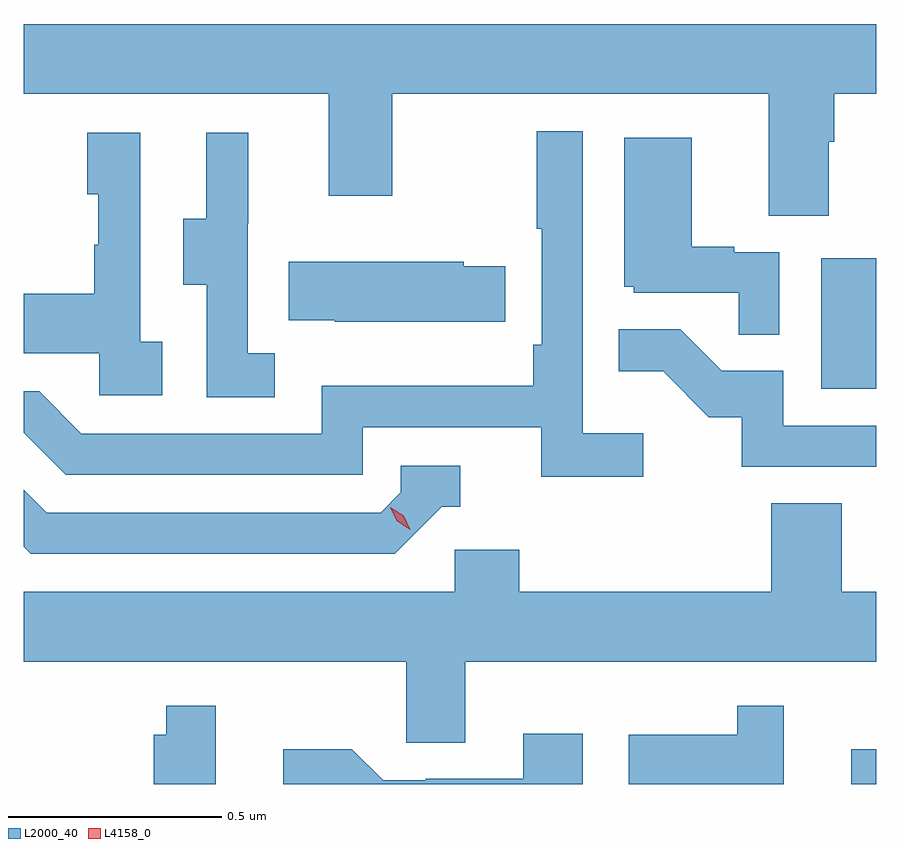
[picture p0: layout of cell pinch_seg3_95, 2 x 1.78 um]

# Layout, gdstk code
import gdstk
lib = gdstk.Library(unit=1e-6, precision=1e-09)
def R(c, l, rs):  # rectangles x0, y0, x1, y1
    for r in rs: c.add(gdstk.rectangle(r[:2], r[2:], *l))
def P(c, l, *ps):  # polygons
    for p in ps: c.add(gdstk.Polygon(p, *l))
L2000_40 = (2000, 40)
L4158_0 = (4158, 0)

pinch_seg3_95 = lib.new_cell('pinch_seg3_95')
R(pinch_seg3_95, L2000_40, [(1067.418,721.941,1067.477,722.023), (1067.348,722.868,1067.477,723.175)])
P(pinch_seg3_95, L2000_40, [(1067.365,723.448),(1067.378,723.448),(1067.378,723.56),(1067.477,723.56),(1067.477,723.724),(1065.477,723.724),(1065.477,723.56),(1066.193,723.56),(1066.193,723.321),(1066.341,723.321),(1066.341,723.56),(1067.225,723.56),(1067.225,723.274),(1067.365,723.274)],
  [(1066.93,722.764),(1066.788,722.764),(1066.788,723.472),(1066.68,723.472),(1066.68,723.244),(1066.692,723.244),(1066.692,722.971),(1066.672,722.971),(1066.672,722.875),(1066.176,722.875),(1066.176,722.763),(1065.612,722.763),(1065.513,722.862),(1065.477,722.862),(1065.477,722.765),(1065.575,722.667),(1066.272,722.667),(1066.272,722.778),(1066.691,722.778),(1066.691,722.662),(1066.93,722.662)],
  [(1065.802,722.978),(1065.75,722.978),(1065.75,723.469),(1065.626,723.469),(1065.626,723.324),(1065.652,723.324),(1065.652,723.206),(1065.642,723.206),(1065.642,723.091),(1065.477,723.091),(1065.477,722.951),(1065.654,722.951),(1065.654,722.853),(1065.802,722.853)],
  [(1066.066,722.951),(1066.002,722.951),(1066.002,723.255),(1066.004,723.255),(1066.004,723.469),(1065.905,723.469),(1065.905,723.267),(1065.851,723.267),(1065.851,723.112),(1065.906,723.112),(1065.906,722.848),(1066.066,722.848)],
  [(1067.25,723.189),(1067.144,723.189),(1067.144,723.202),(1067.044,723.202),(1067.044,723.457),(1066.886,723.457),(1066.886,723.108),(1066.908,723.108),(1066.908,723.093),(1067.155,723.093),(1067.155,722.995),(1067.25,722.995)],
  [(1066.607,723.156),(1066.509,723.156),(1066.509,723.166),(1066.099,723.166),(1066.099,723.029),(1066.207,723.029),(1066.207,723.026),(1066.607,723.026)],
  [(1067.477,722.781),(1067.259,722.781),(1067.259,722.91),(1067.115,722.91),(1067.017,723.008),(1066.873,723.008),(1066.873,722.909),(1066.977,722.909),(1067.084,722.802),(1067.161,722.802),(1067.161,722.685),(1067.477,722.685)],
  [(1066.458,722.592),(1066.501,722.592),(1066.501,722.688),(1066.362,722.688),(1066.362,722.625),(1066.314,722.577),(1065.531,722.577),(1065.477,722.631),(1065.477,722.498),(1065.494,722.481),(1066.347,722.481)],
  [(1066.513,722.228),(1067.477,722.228),(1067.477,722.392),(1067.396,722.392),(1067.396,722.6),(1067.231,722.6),(1067.231,722.392),(1066.64,722.392),(1066.64,722.49),(1066.488,722.49),(1066.488,722.392),(1065.477,722.392),(1065.477,722.228),(1066.374,722.228),(1066.374,722.038),(1066.513,722.038)],
  [(1065.928,722.125),(1065.811,722.125),(1065.811,722.056),(1065.782,722.056),(1065.782,721.941),(1065.928,721.941)],
  [(1067.26,722.125),(1067.151,722.125),(1067.151,722.056),(1066.896,722.056),(1066.896,721.941),(1067.26,721.941)],
  [(1066.789,722.059),(1066.649,722.059),(1066.649,721.953),(1066.42,721.953),(1066.42,721.95),(1066.32,721.95),(1066.247,722.023),(1066.086,722.023),(1066.086,721.941),(1066.789,721.941)])
P(pinch_seg3_95, L4158_0, [(1066.384,722.538),(1066.353,722.557),(1066.337,722.589),(1066.337,722.59),(1066.337,722.59),(1066.368,722.57),(1066.384,722.538),(1066.384,722.538)])

lib.write_gds('pinch_seg3_95.gds')
